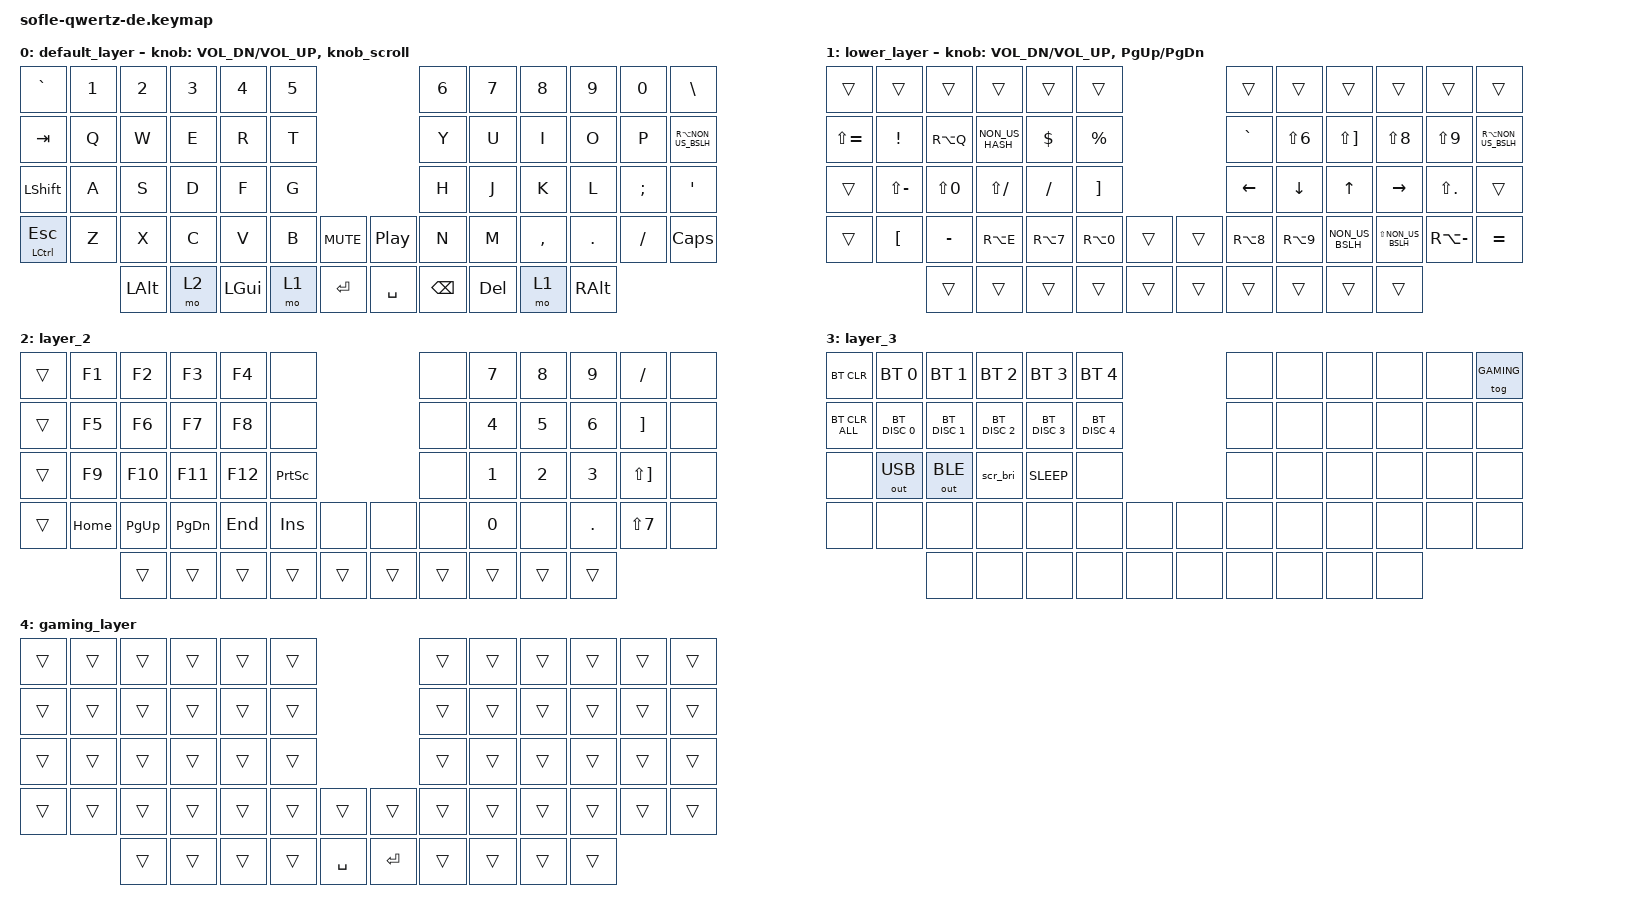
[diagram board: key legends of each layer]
// QWERTZ (German) layout for the sofle, generated from the stock keymap.
// Layer 0 keys stay where they are (the computer's keyboard language decides what they type);
// the other layers type the same characters as the stock keymap. Extra keys:
//   layer 1, key 37: ü
//   layer 1, key 38: ß
//   layer 1, key 39: €
//   layer 1, key 49: ´
/*
 * Copyright (c) 2020 The ZMK Contributors
 *
 * SPDX-License-Identifier: MIT
 */

#include <behaviors.dtsi>
#include <dt-bindings/zmk/bt.h>
#include <dt-bindings/zmk/keys.h>
#include <dt-bindings/zmk/outputs.h>

// Wake-up key: top outer corner (` / \), row pin 5, column pin 19 on both halves.
#define TKL_WAKE_ROW 5
#define TKL_WAKE_COL 19
// Switch-off: ` + Ctrl/Esc held together.
#define TKL_OFF_KEYS 0 36
#include "tkl_power.dtsi"
#include "tkl_brightness.dtsi"

#define BASE 0
#define LOWER 1
#define RAISE 2
#define ADJUST 3
#define GAMING 4

/ {
    behaviors {
        // Right knob: one mouse-wheel step per notch (wheel_step). On our Sofles the first
        // sensor binding fires on a physical counter-clockwise turn (tested 2026-10-24),
        // so every knob binding below lists counter-clockwise first: clockwise = volume up,
        // scroll down, page down.
        wheel_step: wheel_step {
            compatible = "zmk,behavior-wheel-step";
            #binding-cells = <1>;
        };

        knob_scroll: knob_scroll {
            compatible = "zmk,behavior-sensor-rotate";
            #sensor-binding-cells = <0>;
            bindings = <&wheel_step 1>, <&wheel_step (-1)>;
        };
    };

    wheel_step_input_listener {
        compatible = "zmk,input-listener";
        device = <&wheel_step>;
    };

    // Activate ADJUST layer by pressing raise and lower

    conditional_layers {
        compatible = "zmk,conditional-layers";

        adjust_layer {
            if-layers = <1 2>;
            then-layer = <3>;
        };
    };

    keymap {
        compatible = "zmk,keymap";

        default_layer {

            bindings = <
&kp GRAVE         &kp N1  &kp N2        &kp N3  &kp N4        &kp N5                             &kp N6         &kp N7      &kp N8     &kp N9         &kp N0    &kp BACKSLASH
&kp TAB           &kp Q   &kp W         &kp E   &kp R         &kp T                              &kp Y          &kp U       &kp I      &kp O          &kp P     &kp RA(NON_US_BSLH)
&kp LEFT_SHIFT    &kp A   &kp S         &kp D   &kp F         &kp G                              &kp H          &kp J       &kp K      &kp L          &kp SEMI  &kp SQT
&mt LCTRL ESCAPE  &kp Z   &kp X         &kp C   &kp V         &kp B   &kp C_MUTE    &kp C_PP     &kp N          &kp M       &kp COMMA  &kp DOT        &kp FSLH  &kp CAPS
                          &kp LEFT_ALT  &mo 2   &kp LEFT_GUI  &mo 1   &kp RET       &kp SPACE    &kp BACKSPACE  &kp DELETE  &mo 1      &kp RIGHT_ALT
            >;

            sensor-bindings =
                <&inc_dec_kp C_VOL_DN C_VOL_UP>,
                <&knob_scroll>;
        };

        lower_layer {

            bindings = <
&trans     &trans           &trans       &trans     &trans      &trans                         &trans          &trans          &trans         &trans                &trans                 &trans
&kp LS(EQUAL)  &kp EXCLAMATION  &kp RA(Q)    &kp NON_US_HASH   &kp DOLLAR  &kp PERCENT                    &kp GRAVE       &kp LS(N6)      &kp LS(RBKT)   &kp LS(N8)            &kp LS(N9)             &kp RA(NON_US_BSLH)
&trans     &kp LS(MINUS)     &kp LS(N0)    &kp LS(FSLH)  &kp FSLH    &kp RBKT                       &kp LEFT_ARROW  &kp DOWN_ARROW  &kp UP_ARROW   &kp RIGHT_ARROW       &kp LS(DOT)              &trans
&trans     &kp LBKT            &kp MINUS        &kp RA(E)      &kp RA(N7)    &kp RA(N0)     &trans    &trans  &kp RA(N8)        &kp RA(N9)        &kp NON_US_BSLH  &kp LS(NON_US_BSLH)      &kp RA(MINUS)               &kp EQUAL
                            &trans       &trans     &trans      &trans       &trans    &trans  &trans          &trans          &trans         &trans
            >;

            sensor-bindings = <&inc_dec_kp C_VOL_DN C_VOL_UP &inc_dec_kp PG_UP PG_DN>;
        };

        layer_2 {
            bindings = <
&trans  &kp F1    &kp F2       &kp F3         &kp F4   &none                              &none   &kp NUMBER_7  &kp NUMBER_8  &kp NUMBER_9  &kp FSLH      &none
&trans  &kp F5    &kp F6       &kp F7         &kp F8   &none                              &none   &kp NUMBER_4  &kp NUMBER_5  &kp NUMBER_6  &kp RBKT      &none
&trans  &kp F9    &kp F10      &kp F11        &kp F12  &kp PRINTSCREEN                    &none   &kp NUMBER_1  &kp NUMBER_2  &kp NUMBER_3  &kp LS(RBKT)  &none
&trans  &kp HOME  &kp PAGE_UP  &kp PAGE_DOWN  &kp END  &kp INS          &none     &none   &none   &kp NUMBER_0  &none         &kp DOT       &kp LS(N7)     &none
                 &trans       &trans         &trans   &trans           &trans    &trans  &trans  &trans        &trans        &trans
            >;
        };

        layer_3 {
            bindings = <
&bt BT_CLR      &bt BT_SEL 0   &bt BT_SEL 1   &bt BT_SEL 2   &bt BT_SEL 3   &bt BT_SEL 4           &none  &none  &none  &none  &none  &tog GAMING
&bt BT_CLR_ALL  &bt BT_DISC 0  &bt BT_DISC 1  &bt BT_DISC 2  &bt BT_DISC 3  &bt BT_DISC 4                 &none  &none  &none  &none  &none  &none
&none           &out OUT_USB   &out OUT_BLE   &scr_bri       &kp K_SLEEP    &none                  &none  &none  &none  &none  &none  &none
&none           &none          &none          &none          &none          &none  &none    &none  &none  &none  &none  &none  &none  &none
                               &none          &none          &none          &none  &none    &none  &none  &none  &none  &none
            >;
        };

        gaming_layer {
        
            bindings = <
        &trans  &trans  &trans  &trans  &trans  &trans                          &trans  &trans  &trans  &trans  &trans  &trans
        &trans  &trans  &trans  &trans  &trans  &trans                          &trans  &trans  &trans  &trans  &trans  &trans
        &trans  &trans  &trans  &trans  &trans  &trans                          &trans  &trans  &trans  &trans  &trans  &trans
        &trans  &trans  &trans  &trans  &trans  &trans  &trans          &trans  &trans  &trans  &trans  &trans  &trans  &trans
                        &trans  &trans  &trans  &trans  &kp SPACE     &kp RET   &trans  &trans  &trans  &trans
            >;
        };

        extra1 {
            status = "reserved";
        };

        extra2 {
            status = "reserved";
        };

        extra3 {
            status = "reserved";
        };
    };
};
